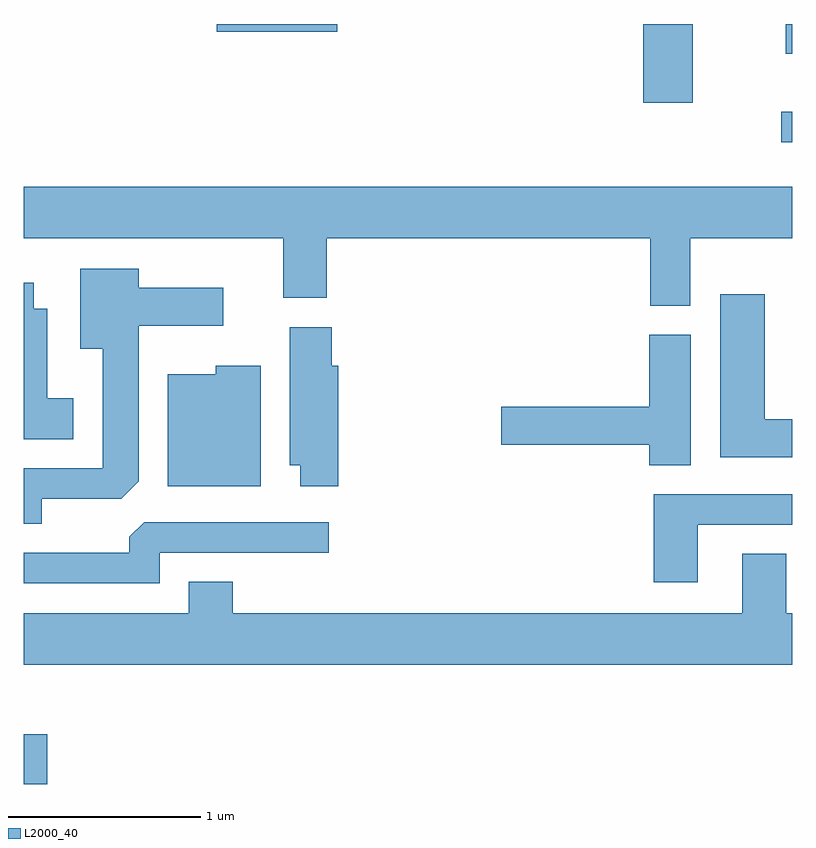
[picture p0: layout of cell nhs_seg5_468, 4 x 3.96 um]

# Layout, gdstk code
import gdstk
lib = gdstk.Library(unit=1e-6, precision=1e-09)
def R(c, l, rs):  # rectangles x0, y0, x1, y1
    for r in rs: c.add(gdstk.rectangle(r[:2], r[2:], *l))
def P(c, l, *ps):  # polygons
    for p in ps: c.add(gdstk.Polygon(p, *l))
L2000_40 = (2000, 40)

nhs_seg5_468 = lib.new_cell('nhs_seg5_468')
R(nhs_seg5_468, L2000_40, [(197.611,1516.116,197.734,1516.374), (201.553,1519.456,201.611,1519.614), (200.836,1519.661,201.094,1520.072), (201.576,1519.916,201.611,1520.072), (198.616,1520.031,199.244,1520.072)])
P(nhs_seg5_468, L2000_40, [(201.079,1518.956),(201.611,1518.956),(201.611,1519.224),(197.611,1519.224),(197.611,1518.956),(198.961,1518.956),(198.961,1518.646),(199.189,1518.646),(199.189,1518.956),(200.871,1518.956),(200.871,1518.606),(201.079,1518.606)],
  [(197.704,1517.601),(198.119,1517.601),(198.209,1517.692),(198.209,1518.501),(198.649,1518.501),(198.649,1518.699),(198.209,1518.699),(198.209,1518.799),(197.906,1518.799),(197.906,1518.381),(198.021,1518.381),(198.021,1517.759),(197.611,1517.759),(197.611,1517.471),(197.704,1517.471)],
  [(197.869,1518.124),(197.734,1518.124),(197.734,1518.589),(197.664,1518.589),(197.664,1518.724),(197.611,1518.724),(197.611,1517.911),(197.869,1517.911)],
  [(201.611,1518.014),(201.469,1518.014),(201.469,1518.664),(201.236,1518.664),(201.236,1517.816),(201.611,1517.816)],
  [(199.249,1518.294),(199.214,1518.294),(199.214,1518.494),(198.996,1518.494),(198.996,1517.776),(199.051,1517.776),(199.051,1517.666),(199.249,1517.666)],
  [(201.084,1518.454),(200.866,1518.454),(200.866,1518.079),(200.096,1518.079),(200.096,1517.881),(200.866,1517.881),(200.866,1517.776),(201.084,1517.776)],
  [(198.844,1518.294),(198.611,1518.294),(198.611,1518.249),(198.361,1518.249),(198.361,1517.666),(198.844,1517.666)],
  [(201.119,1517.466),(201.611,1517.466),(201.611,1517.624),(200.891,1517.624),(200.891,1517.166),(201.119,1517.166)],
  [(198.319,1517.321),(199.198,1517.321),(199.198,1517.479),(198.237,1517.479),(198.161,1517.404),(198.161,1517.319),(197.611,1517.319),(197.611,1517.161),(198.319,1517.161)],
  [(201.611,1517.004),(201.579,1517.004),(201.579,1517.314),(201.351,1517.314),(201.351,1517.004),(198.699,1517.004),(198.699,1517.169),(198.471,1517.169),(198.471,1517.004),(197.611,1517.004),(197.611,1516.736),(201.611,1516.736)])

lib.write_gds('nhs_seg5_468.gds')
